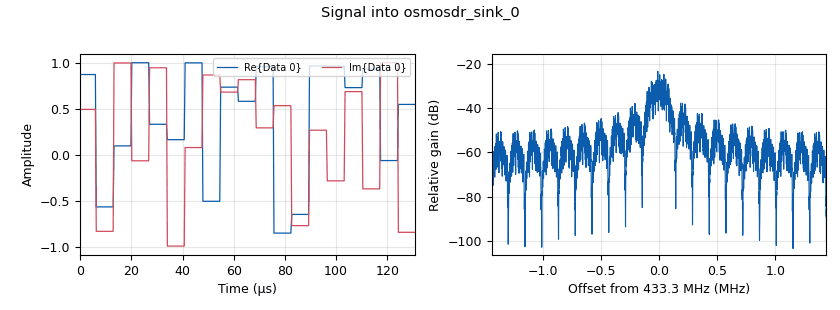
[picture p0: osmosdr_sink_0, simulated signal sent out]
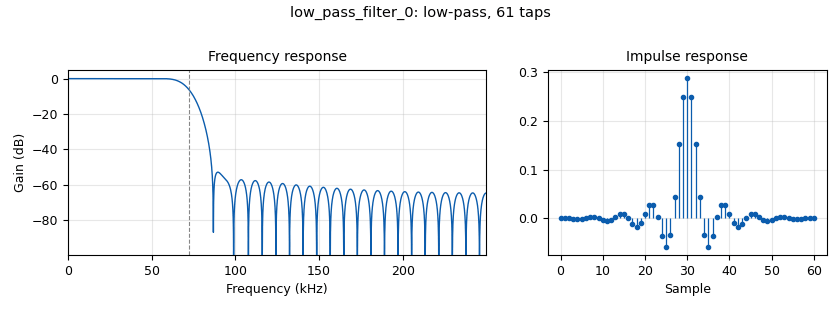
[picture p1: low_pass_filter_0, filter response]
<?xml version='1.0' encoding='utf-8'?>
<?grc format='1' created='3.7.9'?>
<flow_graph>
<block>
<key>options</key>
<param><key>id</key><value>top_block</value></param>
<param><key>category</key><value>Custom</value></param>
<param><key>generate_options</key><value>wx_gui</value></param>
</block>
<block>
<key>variable</key>
<param><key>id</key><value>var_audio_rate</value></param>
<param><key>value</key><value>48000</value></param>
</block>
<block>
<key>variable</key>
<param><key>id</key><value>var_hackrf_tx_rate</value></param>
<param><key>value</key><value>var_output_modulation_rate * var_tx_repeat_count</value></param>
</block>
<block>
<key>variable</key>
<param><key>id</key><value>var_output_modulation_rate</value></param>
<param><key>value</key><value>var_audio_rate*3</value></param>
</block>
<block>
<key>variable_text_box</key>
<param><key>id</key><value>var_rx_freq</value></param>
<param><key>converver</key><value>float_converter</value></param>
<param><key>value</key><value>var_tx_freq</value></param>
<param><key>formatter</key><value>None</value></param>
<param><key>label</key><value></value></param>
</block>
<block>
<key>variable</key>
<param><key>id</key><value>var_rx_sample_rate</value></param>
<param><key>value</key><value>500000</value></param>
</block>
<block>
<key>variable_slider</key>
<param><key>id</key><value>var_tx_freq</value></param>
<param><key>converver</key><value>float_converter</value></param>
<param><key>value</key><value>433300000</value></param>
<param><key>label</key><value></value></param>
<param><key>max</key><value>435000000</value></param>
<param><key>min</key><value>429000000</value></param>
<param><key>num_steps</key><value>100</value></param>
<param><key>style</key><value>wx.SL_HORIZONTAL</value></param>
</block>
<block>
<key>variable</key>
<param><key>id</key><value>var_tx_repeat_count</value></param>
<param><key>value</key><value>20</value></param>
</block>
<block>
<key>analog_sig_source_x</key>
<param><key>id</key><value>analog_sig_source_x_0</value></param>
<param><key>amp</key><value>100</value></param>
<param><key>freq</key><value>6000</value></param>
<param><key>offset</key><value>0</value></param>
<param><key>type</key><value>float</value></param>
<param><key>samp_rate</key><value>var_output_modulation_rate</value></param>
<param><key>waveform</key><value>analog.GR_COS_WAVE</value></param>
</block>
<block>
<key>analog_sig_source_x</key>
<param><key>id</key><value>analog_sig_source_x_0_0</value></param>
<param><key>amp</key><value>100</value></param>
<param><key>freq</key><value>20000</value></param>
<param><key>offset</key><value>0</value></param>
<param><key>type</key><value>float</value></param>
<param><key>samp_rate</key><value>var_output_modulation_rate</value></param>
<param><key>waveform</key><value>analog.GR_SIN_WAVE</value></param>
</block>
<block>
<key>analog_wfm_rcv</key>
<param><key>id</key><value>analog_wfm_rcv_0</value></param>
<param><key>audio_decimation</key><value>1</value></param>
<param><key>quad_rate</key><value>var_rx_sample_rate/4</value></param>
</block>
<block>
<key>analog_wfm_tx</key>
<param><key>id</key><value>analog_wfm_tx_0</value></param>
<param><key>audio_rate</key><value>48000</value></param>
<param><key>max_dev</key><value>75e3</value></param>
<param><key>quad_rate</key><value>var_output_modulation_rate</value></param>
<param><key>tau</key><value>75e-6</value></param>
</block>
<block>
<key>blocks_add_xx</key>
<param><key>id</key><value>blocks_add_xx_0</value></param>
<param><key>type</key><value>float</value></param>
</block>
<block>
<key>blocks_repeat</key>
<param><key>id</key><value>blocks_repeat_0</value></param>
<param><key>interp</key><value>var_tx_repeat_count</value></param>
<param><key>type</key><value>complex</value></param>
</block>
<block>
<key>low_pass_filter</key>
<param><key>id</key><value>low_pass_filter_0</value></param>
<param><key>cutoff_freq</key><value>var_output_modulation_rate/2</value></param>
<param><key>decim</key><value>4</value></param>
<param><key>type</key><value>fir_filter_ccf</value></param>
<param><key>gain</key><value>1</value></param>
<param><key>samp_rate</key><value>var_rx_sample_rate</value></param>
<param><key>width</key><value>20000</value></param>
<param><key>win</key><value>firdes.WIN_HAMMING</value></param>
</block>
<block>
<key>osmosdr_sink</key>
<param><key>id</key><value>osmosdr_sink_0</value></param>
<param><key>bb_gain0</key><value>20</value></param>
<param><key>freq0</key><value>var_tx_freq</value></param>
<param><key>if_gain0</key><value>20</value></param>
<param><key>gain0</key><value>10</value></param>
<param><key>args</key><value>hackrf=0</value></param>
<param><key>type</key><value>fc32</value></param>
<param><key>sample_rate</key><value>var_hackrf_tx_rate</value></param>
<param><key>sync</key><value></value></param>
</block>
<block>
<key>osmosdr_source</key>
<param><key>id</key><value>osmosdr_source_0</value></param>
<param><key>bb_gain0</key><value>20</value></param>
<param><key>freq0</key><value>var_rx_freq</value></param>
<param><key>gain_mode0</key><value>False</value></param>
<param><key>if_gain0</key><value>20</value></param>
<param><key>gain0</key><value>10</value></param>
<param><key>args</key><value></value></param>
<param><key>type</key><value>fc32</value></param>
<param><key>sample_rate</key><value>var_rx_sample_rate</value></param>
<param><key>sync</key><value></value></param>
</block>
<block>
<key>wxgui_waterfallsink2</key>
<param><key>id</key><value>wxgui_waterfallsink2_0</value></param>
<param><key>avg_alpha</key><value>0</value></param>
<param><key>average</key><value>False</value></param>
<param><key>baseband_freq</key><value>var_rx_freq</value></param>
<param><key>dynamic_range</key><value>100</value></param>
<param><key>fft_rate</key><value>15</value></param>
<param><key>fft_size</key><value>512</value></param>
<param><key>freqvar</key><value>None</value></param>
<param><key>ref_scale</key><value>2.0</value></param>
<param><key>ref_level</key><value>0</value></param>
<param><key>samp_rate</key><value>var_rx_sample_rate</value></param>
<param><key>title</key><value>Waterfall Plot</value></param>
<param><key>type</key><value>complex</value></param>
<param><key>win</key><value>None</value></param>
</block>
<block>
<key>wxgui_waterfallsink2</key>
<param><key>id</key><value>wxgui_waterfallsink2_0_0</value></param>
<param><key>avg_alpha</key><value>0</value></param>
<param><key>average</key><value>False</value></param>
<param><key>baseband_freq</key><value>0</value></param>
<param><key>dynamic_range</key><value>100</value></param>
<param><key>fft_rate</key><value>15</value></param>
<param><key>fft_size</key><value>512</value></param>
<param><key>freqvar</key><value>None</value></param>
<param><key>ref_scale</key><value>2.0</value></param>
<param><key>ref_level</key><value>0</value></param>
<param><key>samp_rate</key><value>var_rx_sample_rate/4</value></param>
<param><key>title</key><value>Waterfall Plot</value></param>
<param><key>type</key><value>float</value></param>
<param><key>win</key><value>None</value></param>
</block>
<connection><source_block_id>analog_sig_source_x_0</source_block_id><sink_block_id>blocks_add_xx_0</sink_block_id><source_key>0</source_key><sink_key>1</sink_key></connection>
<connection><source_block_id>analog_sig_source_x_0_0</source_block_id><sink_block_id>blocks_add_xx_0</sink_block_id><source_key>0</source_key><sink_key>0</sink_key></connection>
<connection><source_block_id>analog_wfm_rcv_0</source_block_id><sink_block_id>wxgui_waterfallsink2_0_0</sink_block_id><source_key>0</source_key><sink_key>0</sink_key></connection>
<connection><source_block_id>analog_wfm_tx_0</source_block_id><sink_block_id>blocks_repeat_0</sink_block_id><source_key>0</source_key><sink_key>0</sink_key></connection>
<connection><source_block_id>blocks_add_xx_0</source_block_id><sink_block_id>analog_wfm_tx_0</sink_block_id><source_key>0</source_key><sink_key>0</sink_key></connection>
<connection><source_block_id>blocks_repeat_0</source_block_id><sink_block_id>osmosdr_sink_0</sink_block_id><source_key>0</source_key><sink_key>0</sink_key></connection>
<connection><source_block_id>low_pass_filter_0</source_block_id><sink_block_id>analog_wfm_rcv_0</sink_block_id><source_key>0</source_key><sink_key>0</sink_key></connection>
<connection><source_block_id>osmosdr_source_0</source_block_id><sink_block_id>low_pass_filter_0</sink_block_id><source_key>0</source_key><sink_key>0</sink_key></connection>
<connection><source_block_id>osmosdr_source_0</source_block_id><sink_block_id>wxgui_waterfallsink2_0</sink_block_id><source_key>0</source_key><sink_key>0</sink_key></connection>
</flow_graph>
